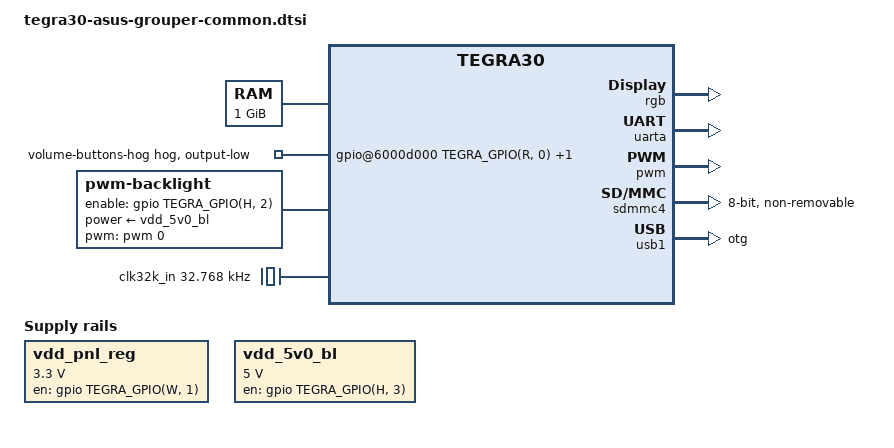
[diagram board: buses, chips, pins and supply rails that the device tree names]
// SPDX-License-Identifier: GPL-2.0-or-later

#include <dt-bindings/input/gpio-keys.h>
#include <dt-bindings/input/linux-event-codes.h>

#include "tegra30.dtsi"

/ {
	chosen {
		stdout-path = &uarta;
	};

	aliases {
		i2c0 = &pmic_i2c;

		mmc0 = &sdmmc4;	/* eMMC */

		rtc1 = "/rtc@7000e000";

		usb0 = &usb1;
	};

	memory {
		device_type = "memory";
		reg = <0x80000000 0x40000000>;
	};

	host1x@50000000 {
		dc@54200000 {
			nvidia,180-rotation;
			rgb {
				status = "okay";

				nvidia,panel = <&panel>;
			};
		};
	};

	gpio@6000d000 {
		volume-buttons-hog {
			gpio-hog;
			gpios = <TEGRA_GPIO(R, 0) GPIO_ACTIVE_HIGH>,
				<TEGRA_GPIO(Q, 0) GPIO_ACTIVE_HIGH>;
			output-low;
		};
	};

	uarta: serial@70006000 {
		status = "okay";
	};

	pwm: pwm@7000a000 {
		status = "okay";
	};

	sdmmc4: sdhci@78000600 {
		status = "okay";
		bus-width = <8>;
		non-removable;
	};

	usb1: usb@7d000000 {
		status = "okay";
		dr_mode = "otg";
	};

	backlight: backlight {
		compatible = "pwm-backlight";

		enable-gpios = <&gpio TEGRA_GPIO(H, 2) GPIO_ACTIVE_HIGH>;
		power-supply = <&vdd_5v0_bl>;
		pwms = <&pwm 0 50000>;

		brightness-levels = <0 4 8 16 32 64 128 255>;
		default-brightness-level = <6>;
	};

	/* PMIC has a built-in 32KHz oscillator which is used by PMC */
	clk32k_in: clock-32k {
		compatible = "fixed-clock";
		#clock-cells = <0>;
		clock-frequency = <32768>;
		clock-output-names = "pmic-oscillator";
	};

	gpio-keyboard {
		compatible = "gpio-kbd";

		key-power {
			label = "Power";
			gpios = <&gpio TEGRA_GPIO(V, 0) GPIO_ACTIVE_LOW>;
			linux,code = <KEY_ENTER>;
		};

		key-volume-up {
			label = "Volume Up";
			gpios = <&gpio TEGRA_GPIO(Q, 2) GPIO_ACTIVE_LOW>;
			linux,code = <KEY_UP>;
		};

		key-volume-down {
			label = "Volume Down";
			gpios = <&gpio TEGRA_GPIO(Q, 3) GPIO_ACTIVE_LOW>;
			linux,code = <KEY_DOWN>;
		};
	};

	vdd_pnl_reg: regulator-pnl {
		compatible = "regulator-fixed";
		regulator-name = "vdd_panel";
		regulator-min-microvolt = <3300000>;
		regulator-max-microvolt = <3300000>;
		gpio = <&gpio TEGRA_GPIO(W, 1) GPIO_ACTIVE_HIGH>;
		enable-active-high;
	};

	vdd_5v0_bl: regulator-bl {
		compatible = "regulator-fixed";
		regulator-name = "vdd_5v0_bl";
		regulator-min-microvolt = <5000000>;
		regulator-max-microvolt = <5000000>;
		regulator-boot-on;
		gpio = <&gpio TEGRA_GPIO(H, 3) GPIO_ACTIVE_HIGH>;
		enable-active-high;
	};
};
